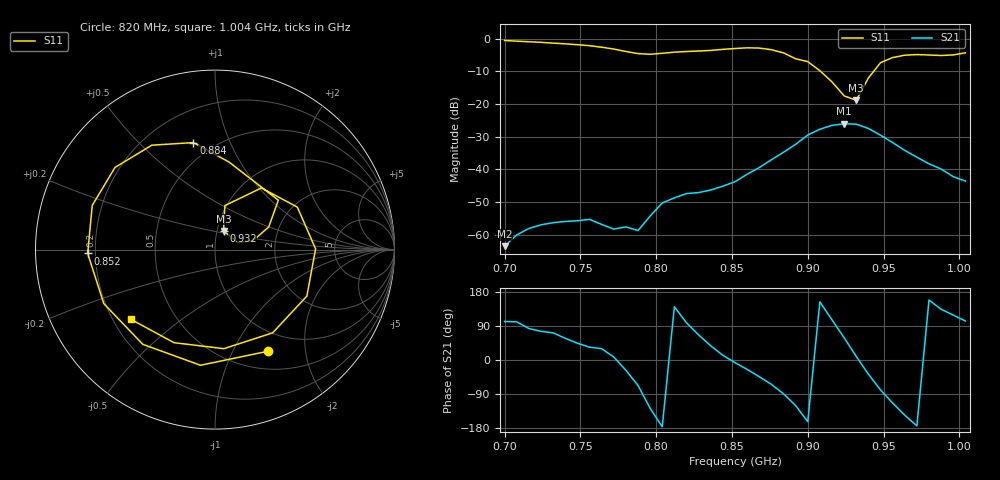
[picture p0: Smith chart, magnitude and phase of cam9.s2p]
# Hz S RI R 50
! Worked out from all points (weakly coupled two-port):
!   39 points, 700 MHz to 1.004 GHz, reference 50 ohm
!   highest |S21| = -26.00 dB at 924 MHz (marker M1); lowest = -63.5 dB at 700 MHz (marker M2)
!   lowest |S11| = -18.8 dB at 932 MHz (marker M3), VSWR 1.26, Z = 53.7 + j11.3 ohm
!   |S11| at or under -10 dB: 908.5 MHz to 943.4 MHz (34.88 MHz wide, 3.77 % of centre)
!   S12 and S22 are empty: the file has one direction only
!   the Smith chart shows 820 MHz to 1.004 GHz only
!   S11 on the Smith chart (normalised r, x): 820 MHz: 0.72, -1.38; 852 MHz: 0.17, -0.01; 884 MHz: 0.39, +0.74; 932 MHz: 1.07, +0.23; 1.004 GHz: 0.27, -0.34
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7e8  0.7588 0.5587  -0.000135 0.000657  0 0  0 0
7.24e8  0.8462 -0.2483  0.000355 0.00138  0 0  0 0
7.4e8  0.4594 -0.699  0.000866 0.00135  0 0  0 0
7.56e8  -0.1908 -0.7603  0.00143 0.000962  0 0  0 0
7.72e8  -0.6656 -0.2056  0.00121 0.000171  0 0  0 0
7.8e8  -0.6009 0.216  0.00118 -0.000603  0 0  0 0
7.88e8  -0.2617 0.5325  0.000456 -0.00107  0 0  0 0
7.96e8  0.2236 0.5341  -0.00117 -0.00154  0 0  0 0
8.04e8  0.5662 0.1969  -0.00307 -0.000199  0 0  0 0
8.2e8  0.2944 -0.5663  -0.000604 0.00424  0 0  0 0
8.36e8  -0.402 -0.5279  0.00386 0.00295  0 0  0 0
8.52e8  -0.7094 -0.0214  0.00645 -0.000788  0 0  0 0
8.68e8  -0.5569 0.4578  0.00767 -0.00744  0 0  0 0
8.84e8  -0.1206 0.5962  0.000238 -0.0183  0 0  0 0
9e8  0.3529 0.2753  -0.0322 -0.00999  0 0  0 0
9.08e8  0.2993 0.126  -0.0369 0.0185  0 0  0 0
9.24e8  0.1277 0.0395  0.026 0.0429  0 0  0 0
9.32e8  0.0474 0.1041  0.0487 0.00812  0 0  0 0
9.48e8  0.2588 0.3435  0.00648 -0.0329  0 0  0 0
9.56e8  0.4589 0.2365  -0.0103 -0.0236  0 0  0 0
9.8e8  0.3213 -0.4636  -0.0113 0.00451  0 0  0 0
1.004e9  -0.4694 -0.3881  -0.00148 0.00649  0 0  0 0
